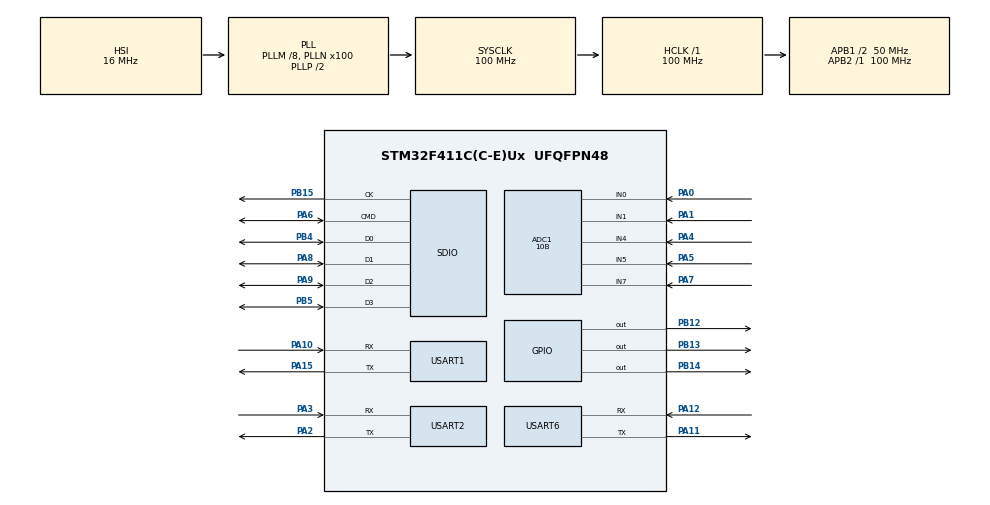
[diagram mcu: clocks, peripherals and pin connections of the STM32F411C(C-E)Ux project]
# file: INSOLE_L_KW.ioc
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ADC1.Channel-10\#ChannelRegularConversion=ADC_CHANNEL_1
ADC1.Channel-12\#ChannelRegularConversion=ADC_CHANNEL_4
ADC1.Channel-13\#ChannelRegularConversion=ADC_CHANNEL_5
ADC1.Channel-14\#ChannelRegularConversion=ADC_CHANNEL_7
ADC1.Channel-5\#ChannelRegularConversion=ADC_CHANNEL_0
ADC1.ContinuousConvMode=ENABLE
ADC1.DMAContinuousRequests=ENABLE
ADC1.InjNumberOfConversion=0
ADC1.NbrOfConversion=5
ADC1.NbrOfConversionFlag=1
ADC1.Rank-10\#ChannelRegularConversion=2
ADC1.Rank-12\#ChannelRegularConversion=3
ADC1.Rank-13\#ChannelRegularConversion=4
ADC1.Rank-14\#ChannelRegularConversion=5
ADC1.Rank-5\#ChannelRegularConversion=1
ADC1.Resolution=ADC_RESOLUTION_10B
ADC1.SamplingTime-10\#ChannelRegularConversion=ADC_SAMPLETIME_112CYCLES
ADC1.SamplingTime-12\#ChannelRegularConversion=ADC_SAMPLETIME_112CYCLES
ADC1.SamplingTime-13\#ChannelRegularConversion=ADC_SAMPLETIME_112CYCLES
ADC1.SamplingTime-14\#ChannelRegularConversion=ADC_SAMPLETIME_112CYCLES
ADC1.SamplingTime-5\#ChannelRegularConversion=ADC_SAMPLETIME_112CYCLES
ADC1.master=1
Dma.ADC1.0.Direction=DMA_PERIPH_TO_MEMORY
Dma.ADC1.0.FIFOMode=DMA_FIFOMODE_DISABLE
Dma.ADC1.0.Instance=DMA2_Stream0
Dma.ADC1.0.MemDataAlignment=DMA_MDATAALIGN_HALFWORD
Dma.ADC1.0.MemInc=DMA_MINC_ENABLE
Dma.ADC1.0.Mode=DMA_CIRCULAR
Dma.ADC1.0.PeriphDataAlignment=DMA_PDATAALIGN_HALFWORD
Dma.ADC1.0.PeriphInc=DMA_PINC_DISABLE
Dma.ADC1.0.Priority=DMA_PRIORITY_LOW
Dma.Request0=ADC1
Dma.Request1=SDIO_RX
Dma.Request2=SDIO_TX
Dma.SDIO_RX.1.Direction=DMA_PERIPH_TO_MEMORY
Dma.SDIO_RX.1.FIFOMode=DMA_FIFOMODE_ENABLE
Dma.SDIO_RX.1.FIFOThreshold=DMA_FIFO_THRESHOLD_FULL
Dma.SDIO_RX.1.Instance=DMA2_Stream3
Dma.SDIO_RX.1.MemBurst=DMA_MBURST_INC4
Dma.SDIO_RX.1.MemDataAlignment=DMA_MDATAALIGN_WORD
Dma.SDIO_RX.1.MemInc=DMA_MINC_ENABLE
Dma.SDIO_RX.1.Mode=DMA_PFCTRL
Dma.SDIO_RX.1.PeriphBurst=DMA_PBURST_INC4
Dma.SDIO_RX.1.PeriphDataAlignment=DMA_PDATAALIGN_WORD
Dma.SDIO_RX.1.PeriphInc=DMA_PINC_DISABLE
Dma.SDIO_RX.1.Priority=DMA_PRIORITY_LOW
Dma.SDIO_TX.2.Direction=DMA_MEMORY_TO_PERIPH
Dma.SDIO_TX.2.FIFOMode=DMA_FIFOMODE_ENABLE
Dma.SDIO_TX.2.FIFOThreshold=DMA_FIFO_THRESHOLD_FULL
Dma.SDIO_TX.2.Instance=DMA2_Stream6
Dma.SDIO_TX.2.MemBurst=DMA_MBURST_INC4
Dma.SDIO_TX.2.MemDataAlignment=DMA_MDATAALIGN_WORD
Dma.SDIO_TX.2.MemInc=DMA_MINC_ENABLE
Dma.SDIO_TX.2.Mode=DMA_PFCTRL
Dma.SDIO_TX.2.PeriphBurst=DMA_PBURST_INC4
Dma.SDIO_TX.2.PeriphDataAlignment=DMA_PDATAALIGN_WORD
Dma.SDIO_TX.2.PeriphInc=DMA_PINC_DISABLE
Dma.SDIO_TX.2.Priority=DMA_PRIORITY_LOW
FATFS._MAX_SS=4096
FREERTOS.Tasks01=defaultTask,0,128,StartDefaultTask,Default,NULL
FREERTOS.configTICK_RATE_HZ=1000
Mcu.Family=STM32F4
Mcu.Name=STM32F411C(C-E)Ux
Mcu.Package=UFQFPN48
NVIC.DMA2_Stream0_IRQn=true\:5\:0\:false\:false\:true\:true\:false\:true
NVIC.DMA2_Stream3_IRQn=true\:5\:0\:false\:false\:true\:true\:false\:true
NVIC.DMA2_Stream6_IRQn=true\:5\:0\:false\:false\:true\:true\:false\:true
NVIC.PriorityGroup=NVIC_PRIORITYGROUP_4
NVIC.SDIO_IRQn=true\:5\:0\:false\:false\:true\:true\:true\:true
NVIC.TIM4_IRQn=true\:5\:0\:false\:false\:true\:true\:true\:true
NVIC.TIM5_IRQn=true\:0\:0\:false\:false\:true\:false\:false\:true
NVIC.TimeBase=TIM5_IRQn
NVIC.TimeBaseIP=TIM5
NVIC.USART1_IRQn=true\:5\:0\:false\:false\:true\:true\:true\:true
PA0-WKUP.Signal=ADCx_IN0
PA1.Signal=ADCx_IN1
PA10.Mode=Asynchronous
PA10.Signal=USART1_RX
PA11.Mode=Asynchronous
PA11.Signal=USART6_TX
PA12.Mode=Asynchronous
PA12.Signal=USART6_RX
PA15.Mode=Asynchronous
PA15.Signal=USART1_TX
PA2.Mode=Asynchronous
PA2.Signal=USART2_TX
PA3.Mode=Asynchronous
PA3.Signal=USART2_RX
PA4.Signal=ADCx_IN4
PA5.Signal=ADCx_IN5
PA6.GPIO_PuPd=GPIO_PULLUP
PA6.Mode=SD_4_bits_Wide_bus
PA6.Signal=SDIO_CMD
PA7.Signal=ADCx_IN7
PA8.GPIO_PuPd=GPIO_PULLUP
PA8.Mode=SD_4_bits_Wide_bus
PA8.Signal=SDIO_D1
PA9.GPIO_PuPd=GPIO_PULLUP
PA9.Mode=SD_4_bits_Wide_bus
PA9.Signal=SDIO_D2
PB12.Signal=GPIO_Output
PB13.Signal=GPIO_Output
PB14.Signal=GPIO_Output
PB15.Mode=SD_4_bits_Wide_bus
PB15.Signal=SDIO_CK
PB4.GPIO_PuPd=GPIO_PULLUP
PB4.Mode=SD_4_bits_Wide_bus
PB4.Signal=SDIO_D0
PB5.GPIO_PuPd=GPIO_PULLUP
PB5.Mode=SD_4_bits_Wide_bus
PB5.Signal=SDIO_D3
ProjectManager.HeapSize=0x2000
ProjectManager.StackSize=0x4000
ProjectManager.TargetToolchain=MDK-ARM V5
RCC.48MHZClocksFreq_Value=40000000
RCC.AHBFreq_Value=100000000
RCC.APB1CLKDivider=RCC_HCLK_DIV2
RCC.APB1Freq_Value=50000000
RCC.APB1TimFreq_Value=100000000
RCC.APB2Freq_Value=100000000
RCC.APB2TimFreq_Value=100000000
RCC.CortexFreq_Value=100000000
RCC.HCLKFreq_Value=100000000
RCC.HSE_VALUE=8000000
RCC.HSI_VALUE=16000000
RCC.LSE_VALUE=32768
RCC.PLLM=8
RCC.PLLN=100
RCC.PLLQ=5
RCC.SYSCLKFreq_VALUE=100000000
RCC.SYSCLKSource=RCC_SYSCLKSOURCE_PLLCLK
RCC.VCOOutputFreq_Value=200000000
SDIO.ClockDiv=3
SH.ADCx_IN0.0=ADC1_IN0,IN0
SH.ADCx_IN1.0=ADC1_IN1,IN1
SH.ADCx_IN4.0=ADC1_IN4,IN4
SH.ADCx_IN5.0=ADC1_IN5,IN5
SH.ADCx_IN7.0=ADC1_IN7,IN7
TIM4.Period=10-1
TIM4.Prescaler=10000-1
TIM4.TIM_MasterOutputTrigger=TIM_TRGO_UPDATE
USART1.VirtualMode=VM_ASYNC
USART2.VirtualMode=VM_ASYNC
USART6.VirtualMode=VM_ASYNC
VP_CRC_VS_CRC.Mode=CRC_Activate
VP_FATFS_VS_SDIO.Mode=SDIO
VP_FREERTOS_VS_CMSIS_V1.Mode=CMSIS_V1
VP_SYS_VS_tim5.Mode=TIM5
VP_TIM4_VS_ClockSourceINT.Mode=Internal
board=custom

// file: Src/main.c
/* USER CODE BEGIN Header */

/*Definition in INSOLE_R_KR
DATASET :
INSOLE_L : 10BYTE(FSR) + 4BYTE(ST/ED) + 2BYTE(CRC) = 16BYTE
INSOLE_R : 20BYTE(FSR) + 4BYTE(ST/ED) + 2BYTE(CRC)= 26BYTE
IMU 		 : 2Byte(TMR) + 20BYTE(FSR) + 18BYTE(IMU) + 4BYTE(ST/ED) + 2BYTE(CRC) = 44BYTE

*/

/**
  ******************************************************************************
  * @file           : main.c
  * @brief          : Main program body
  ******************************************************************************
  * @attention
  *
  * <h2><center>&copy; Copyright (c) 2020 STMicroelectronics.
  * All rights reserved.</center></h2>
  *
  * This software component is licensed by ST under Ultimate Liberty license
  * SLA0044, the "License"; You may not use this file except in compliance with
  * the License. You may obtain a copy of the License at:
  *                             www.st.com/SLA0044
  *
  ******************************************************************************
  */
/* USER CODE END Header */

#include "main.h"
#include "cmsis_os.h"
#include "fatfs.h"

/* USER CODE BEGIN Includes */
#include <stdio.h>
#include <string.h>
#include <stdbool.h>
/* USER CODE END Includes */

ADC_HandleTypeDef hadc1;
DMA_HandleTypeDef hdma_adc1;

CRC_HandleTypeDef hcrc;

SD_HandleTypeDef hsd;
DMA_HandleTypeDef hdma_sdio_rx;
DMA_HandleTypeDef hdma_sdio_tx;

TIM_HandleTypeDef htim4;

UART_HandleTypeDef huart1;
UART_HandleTypeDef huart2;
UART_HandleTypeDef huart6;

osThreadId defaultTaskHandle;

void SystemClock_Config(void);
static void MX_GPIO_Init(void);
static void MX_DMA_Init(void);
static void MX_ADC1_Init(void);
static void MX_USART1_UART_Init(void);
static void MX_USART2_UART_Init(void);
static void MX_SDIO_SD_Init(void);
static void MX_TIM4_Init(void);
static void MX_USART6_UART_Init(void);
static void MX_CRC_Init(void);
void StartDefaultTask(void const * argument);

/* USER CODE BEGIN 0 */
	//Communication buffers
	uint8_t txdata[16]; // 4 from FFFF,FFFE 18 from Imu, 10 byte from insole 2byte crc : 34 byte

	// pc recieve buffer

	uint8_t Rxbuf[10] = {0,};

	//arduino recieve buffer

	uint8_t Rxbuf_ino[10] = {0,};
	//ADC dma convert
	uint16_t adcValArray[5] = {0,};

	//crcval
	uint32_t crcArray_send[10] = {0,};
	uint16_t crcval = 0;

	//SD card variables
	extern char SDPath[4];   /* SD logical drive path */
	extern FATFS SDFatFS;    /* File system object for SD logical drive */
	extern FIL SDFile;       /* File object for SD */

	//FILE I/O operation
	FRESULT res;                                          /* FatFs function common result code */
	uint32_t byteswritten, bytesread;                     /* File write/read counts */
	uint8_t wtext[] = "Hello"; 			      /* File write start buffer */
	uint8_t rtext[100];                                   /* File read buffer */

	FATFS myFATAS;
	FIL myFILE;
	UINT testByte; 										  // error detection

	//timer
	uint16_t tmr_ms=0;
	uint16_t tmr_1000ms=0;

	uint16_t svtmr_ms=0;

	bool _1000ms_flg = false;
	bool datasave_flg = false;
	//test
	uint8_t k = 0;
	bool datatrans_flg = false;
	bool datatest_flg = false;

/* USER CODE END 0 */

int main(void)
{

  /* MCU Configuration--------------------------------------------------------*/

  /* Reset of all peripherals, Initializes the Flash interface and the Systick. */
  HAL_Init();

  /* Configure the system clock */
  SystemClock_Config();

  /* Initialize all configured peripherals */
  MX_GPIO_Init();
  MX_DMA_Init();
  MX_ADC1_Init();
  MX_USART1_UART_Init();
  MX_USART2_UART_Init();
  MX_SDIO_SD_Init();
  MX_TIM4_Init();
  MX_USART6_UART_Init();
  MX_CRC_Init();
  /* USER CODE BEGIN 2 */
  HAL_ADC_Start_DMA(&hadc1,(uint32_t *)adcValArray, 5);
  HAL_TIM_Base_Start_IT(&htim4);
  HAL_UART_Receive_IT(&huart6, (uint8_t *)Rxbuf_ino, 10); //interrupt mode only in the mcu data

  /* USER CODE END 2 */

  /* Create the thread(s) */
  /* definition and creation of defaultTask */
  osThreadDef(defaultTask, StartDefaultTask, osPriorityNormal, 0, 128);
  defaultTaskHandle = osThreadCreate(osThread(defaultTask), NULL);

  /* Start scheduler */
  osKernelStart();

  /* We should never get here as control is now taken by the scheduler */

  /* Infinite loop */
  while (1)
  {

  }
}

void SystemClock_Config(void)
{
  RCC_OscInitTypeDef RCC_OscInitStruct = {0};
  RCC_ClkInitTypeDef RCC_ClkInitStruct = {0};

  /** Configure the main internal regulator output voltage
  */
  __HAL_RCC_PWR_CLK_ENABLE();
  __HAL_PWR_VOLTAGESCALING_CONFIG(PWR_REGULATOR_VOLTAGE_SCALE1);
  /** Initializes the CPU, AHB and APB busses clocks
  */
  RCC_OscInitStruct.OscillatorType = RCC_OSCILLATORTYPE_HSI;
  RCC_OscInitStruct.HSIState = RCC_HSI_ON;
  RCC_OscInitStruct.HSICalibrationValue = RCC_HSICALIBRATION_DEFAULT;
  RCC_OscInitStruct.PLL.PLLState = RCC_PLL_ON;
  RCC_OscInitStruct.PLL.PLLSource = RCC_PLLSOURCE_HSI;
  RCC_OscInitStruct.PLL.PLLM = 8;
  RCC_OscInitStruct.PLL.PLLN = 100;
  RCC_OscInitStruct.PLL.PLLP = RCC_PLLP_DIV2;
  RCC_OscInitStruct.PLL.PLLQ = 5;
  if (HAL_RCC_OscConfig(&RCC_OscInitStruct) != HAL_OK)
  {
    Error_Handler();
  }
  /** Initializes the CPU, AHB and APB busses clocks
  */
  RCC_ClkInitStruct.ClockType = RCC_CLOCKTYPE_HCLK|RCC_CLOCKTYPE_SYSCLK
                              |RCC_CLOCKTYPE_PCLK1|RCC_CLOCKTYPE_PCLK2;
  RCC_ClkInitStruct.SYSCLKSource = RCC_SYSCLKSOURCE_PLLCLK;
  RCC_ClkInitStruct.AHBCLKDivider = RCC_SYSCLK_DIV1;
  RCC_ClkInitStruct.APB1CLKDivider = RCC_HCLK_DIV2;
  RCC_ClkInitStruct.APB2CLKDivider = RCC_HCLK_DIV1;

  if (HAL_RCC_ClockConfig(&RCC_ClkInitStruct, FLASH_LATENCY_3) != HAL_OK)
  {
    Error_Handler();
  }
}

static void MX_ADC1_Init(void)
{

  ADC_ChannelConfTypeDef sConfig = {0};

  /** Configure the global features of the ADC (Clock, Resolution, Data Alignment and number of conversion)
  */
  hadc1.Instance = ADC1;
  hadc1.Init.ClockPrescaler = ADC_CLOCK_SYNC_PCLK_DIV4;
  hadc1.Init.Resolution = ADC_RESOLUTION_10B;
  hadc1.Init.ScanConvMode = ENABLE;
  hadc1.Init.ContinuousConvMode = ENABLE;
  hadc1.Init.DiscontinuousConvMode = DISABLE;
  hadc1.Init.ExternalTrigConvEdge = ADC_EXTERNALTRIGCONVEDGE_NONE;
  hadc1.Init.ExternalTrigConv = ADC_SOFTWARE_START;
  hadc1.Init.DataAlign = ADC_DATAALIGN_RIGHT;
  hadc1.Init.NbrOfConversion = 5;
  hadc1.Init.DMAContinuousRequests = ENABLE;
  hadc1.Init.EOCSelection = ADC_EOC_SINGLE_CONV;
  if (HAL_ADC_Init(&hadc1) != HAL_OK)
  {
    Error_Handler();
  }
  /** Configure for the selected ADC regular channel its corresponding rank in the sequencer and its sample time.
  */
  sConfig.Channel = ADC_CHANNEL_0;
  sConfig.Rank = 1;
  sConfig.SamplingTime = ADC_SAMPLETIME_112CYCLES;
  if (HAL_ADC_ConfigChannel(&hadc1, &sConfig) != HAL_OK)
  {
    Error_Handler();
  }
  /** Configure for the selected ADC regular channel its corresponding rank in the sequencer and its sample time.
  */
  sConfig.Channel = ADC_CHANNEL_1;
  sConfig.Rank = 2;
  if (HAL_ADC_ConfigChannel(&hadc1, &sConfig) != HAL_OK)
  {
    Error_Handler();
  }
  /** Configure for the selected ADC regular channel its corresponding rank in the sequencer and its sample time.
  */
  sConfig.Channel = ADC_CHANNEL_4;
  sConfig.Rank = 3;
  if (HAL_ADC_ConfigChannel(&hadc1, &sConfig) != HAL_OK)
  {
    Error_Handler();
  }
  /** Configure for the selected ADC regular channel its corresponding rank in the sequencer and its sample time.
  */
  sConfig.Channel = ADC_CHANNEL_5;
  sConfig.Rank = 4;
  if (HAL_ADC_ConfigChannel(&hadc1, &sConfig) != HAL_OK)
  {
    Error_Handler();
  }
  /** Configure for the selected ADC regular channel its corresponding rank in the sequencer and its sample time.
  */
  sConfig.Channel = ADC_CHANNEL_7;
  sConfig.Rank = 5;
  if (HAL_ADC_ConfigChannel(&hadc1, &sConfig) != HAL_OK)
  {
    Error_Handler();
  }
}

static void MX_CRC_Init(void)
{

  hcrc.Instance = CRC;
  if (HAL_CRC_Init(&hcrc) != HAL_OK)
  {
    Error_Handler();
  }

}

static void MX_SDIO_SD_Init(void)
{

  hsd.Instance = SDIO;
  hsd.Init.ClockEdge = SDIO_CLOCK_EDGE_RISING;
  hsd.Init.ClockBypass = SDIO_CLOCK_BYPASS_DISABLE;
  hsd.Init.ClockPowerSave = SDIO_CLOCK_POWER_SAVE_DISABLE;
  hsd.Init.BusWide = SDIO_BUS_WIDE_1B;
  hsd.Init.HardwareFlowControl = SDIO_HARDWARE_FLOW_CONTROL_DISABLE;
  hsd.Init.ClockDiv = 3;

}

static void MX_TIM4_Init(void)
{

  TIM_ClockConfigTypeDef sClockSourceConfig = {0};
  TIM_MasterConfigTypeDef sMasterConfig = {0};

  htim4.Instance = TIM4;
  htim4.Init.Prescaler = 10000-1;
  htim4.Init.CounterMode = TIM_COUNTERMODE_UP;
  htim4.Init.Period = 10-1;
  htim4.Init.ClockDivision = TIM_CLOCKDIVISION_DIV1;
  htim4.Init.AutoReloadPreload = TIM_AUTORELOAD_PRELOAD_DISABLE;
  if (HAL_TIM_Base_Init(&htim4) != HAL_OK)
  {
    Error_Handler();
  }
  sClockSourceConfig.ClockSource = TIM_CLOCKSOURCE_INTERNAL;
  if (HAL_TIM_ConfigClockSource(&htim4, &sClockSourceConfig) != HAL_OK)
  {
    Error_Handler();
  }
  sMasterConfig.MasterOutputTrigger = TIM_TRGO_UPDATE;
  sMasterConfig.MasterSlaveMode = TIM_MASTERSLAVEMODE_DISABLE;
  if (HAL_TIMEx_MasterConfigSynchronization(&htim4, &sMasterConfig) != HAL_OK)
  {
    Error_Handler();
  }

}

static void MX_USART1_UART_Init(void)
{

  huart1.Instance = USART1;
  huart1.Init.BaudRate = 115200;
  huart1.Init.WordLength = UART_WORDLENGTH_8B;
  huart1.Init.StopBits = UART_STOPBITS_1;
  huart1.Init.Parity = UART_PARITY_NONE;
  huart1.Init.Mode = UART_MODE_TX_RX;
  huart1.Init.HwFlowCtl = UART_HWCONTROL_NONE;
  huart1.Init.OverSampling = UART_OVERSAMPLING_16;
  if (HAL_UART_Init(&huart1) != HAL_OK)
  {
    Error_Handler();
  }

}

static void MX_USART2_UART_Init(void)
{

  huart2.Instance = USART2;
  huart2.Init.BaudRate = 115200;
  huart2.Init.WordLength = UART_WORDLENGTH_8B;
  huart2.Init.StopBits = UART_STOPBITS_1;
  huart2.Init.Parity = UART_PARITY_NONE;
  huart2.Init.Mode = UART_MODE_TX_RX;
  huart2.Init.HwFlowCtl = UART_HWCONTROL_NONE;
  huart2.Init.OverSampling = UART_OVERSAMPLING_16;
  if (HAL_UART_Init(&huart2) != HAL_OK)
  {
    Error_Handler();
  }

}

static void MX_USART6_UART_Init(void)
{

  huart6.Instance = USART6;
  huart6.Init.BaudRate = 115200;
  huart6.Init.WordLength = UART_WORDLENGTH_8B;
  huart6.Init.StopBits = UART_STOPBITS_1;
  huart6.Init.Parity = UART_PARITY_NONE;
  huart6.Init.Mode = UART_MODE_TX_RX;
  huart6.Init.HwFlowCtl = UART_HWCONTROL_NONE;
  huart6.Init.OverSampling = UART_OVERSAMPLING_16;
  if (HAL_UART_Init(&huart6) != HAL_OK)
  {
    Error_Handler();
  }

}

static void MX_DMA_Init(void)
{

  /* DMA controller clock enable */
  __HAL_RCC_DMA2_CLK_ENABLE();

  /* DMA interrupt init */
  /* DMA2_Stream0_IRQn interrupt configuration */
  HAL_NVIC_SetPriority(DMA2_Stream0_IRQn, 5, 0);
  HAL_NVIC_EnableIRQ(DMA2_Stream0_IRQn);
  /* DMA2_Stream3_IRQn interrupt configuration */
  HAL_NVIC_SetPriority(DMA2_Stream3_IRQn, 5, 0);
  HAL_NVIC_EnableIRQ(DMA2_Stream3_IRQn);
  /* DMA2_Stream6_IRQn interrupt configuration */
  HAL_NVIC_SetPriority(DMA2_Stream6_IRQn, 5, 0);
  HAL_NVIC_EnableIRQ(DMA2_Stream6_IRQn);

}

static void MX_GPIO_Init(void)
{
  GPIO_InitTypeDef GPIO_InitStruct = {0};

  /* GPIO Ports Clock Enable */
  __HAL_RCC_GPIOA_CLK_ENABLE();
  __HAL_RCC_GPIOB_CLK_ENABLE();

  /*Configure GPIO pin Output Level */
  HAL_GPIO_WritePin(GPIOB, GPIO_PIN_12|GPIO_PIN_13|GPIO_PIN_14, GPIO_PIN_RESET);

  /*Configure GPIO pins : PB12 PB13 PB14 */
  GPIO_InitStruct.Pin = GPIO_PIN_12|GPIO_PIN_13|GPIO_PIN_14;
  GPIO_InitStruct.Mode = GPIO_MODE_OUTPUT_PP;
  GPIO_InitStruct.Pull = GPIO_NOPULL;
  GPIO_InitStruct.Speed = GPIO_SPEED_FREQ_LOW;
  HAL_GPIO_Init(GPIOB, &GPIO_InitStruct);

}

/* USER CODE BEGIN 4 */
 void HAL_UART_RxCpltCallback(UART_HandleTypeDef *huart)
{
  /* Prevent unused argument(s) compilation warning */
  /* NOTE: This function should not be modified, when the callback is needed,
           the HAL_UART_RxCpltCallback could be implemented in the user file
   */
	//add ring buffer
	// data pacing and save buff to transmit array
	if(huart->Instance == USART1){
			//received search : start - start ?
			// senddata to
			uint8_t txdata[30] = {0,};
			//data parse and use
			// data save, data unsave mode
	}

	if(huart->Instance == USART6){
			//received search : start - start ?
			// senddata to
			//data parse and use
			// data save, data unsave mode
		HAL_UART_Receive_IT(&huart6, (uint8_t *)Rxbuf_ino, 10); //interrupt mode only in the mcu data
	}

}
 void HAL_UART_TxCpltCallback(UART_HandleTypeDef *huart)
{
  /* Prevent unused argument(s) compilation warning */
  /* NOTE: This function should not be modified, when the callback is needed,
           the HAL_UART_RxCpltCallback could be implemented in the user file
   */
	//add ring buffer
	// data pacing and save buff to transmit array
	if(huart->Instance == USART1){
		datatrans_flg	= true;
	}
}
/* USER CODE END 4 */

void StartDefaultTask(void const * argument)
{
  /* init code for FATFS */
  //MX_FATFS_Init();
  /* USER CODE BEGIN 5 */
//	f_mount(&SDFatFS, (TCHAR const*)SDPath, 1);

//	if(f_open(&SDFile, "test.txt", FA_CREATE_ALWAYS | FA_WRITE )== FR_OK){
//		HAL_GPIO_TogglePin(GPIOB,GPIO_PIN_14);
//		osDelay(500);
//		HAL_GPIO_TogglePin(GPIOB,GPIO_PIN_14);
//		osDelay(500);
//		HAL_GPIO_TogglePin(GPIOB,GPIO_PIN_14);
//		osDelay(500);
//		HAL_GPIO_TogglePin(GPIOB,GPIO_PIN_14);
//	}
//	else{
//		HAL_GPIO_TogglePin(GPIOB,GPIO_PIN_14);
//		osDelay(2000);
//		HAL_GPIO_TogglePin(GPIOB,GPIO_PIN_14);
//		osDelay(2000);
//		HAL_GPIO_TogglePin(GPIOB,GPIO_PIN_14);
//		osDelay(2000);
//		HAL_GPIO_TogglePin(GPIOB,GPIO_PIN_14);
//		}
//

  /* Infinite loop */
  for(;;)
  {
	if(_1000ms_flg) // 5ms data send
		{
		_1000ms_flg = false;
		txdata[0] = 0xFF;
		txdata[1] = 0xFF;

		for(int i =0; i<5; i++){
		char a = i*2;
		txdata[2+a] = adcValArray[i] >> 8;  //hi
		txdata[3+a] = adcValArray[i] & 0xFF;//lo
		}
		memset(crcArray_send,0,10*sizeof(crcArray_send[0]));
		memcpy(&crcArray_send[0],&txdata[2] , 10);
		crcval = HAL_CRC_Calculate(&hcrc,crcArray_send,3)& 0xffff;

		txdata[12] = crcval >> 8;
		txdata[13] = crcval & 0xff;
		txdata[14] = 0xFF;
		txdata[15] = 0xFE;

	//TRANSMIT DATA TO PC
		//	DATA SAVE TO LEFT LEG
//			if(datasave_flg){
//			for(int i =0; i<16; i++) {
//			f_printf(&SDFile, "%02x", txdata[i]);
//			}
//			f_printf(&SDFile, "\n");
//			}
//			else
//			{
//			f_close(&SDFile);
//			}
//
			HAL_UART_Transmit_IT(&huart1,txdata,16);  // 4byte + 18 + 10 byte(insole right)+ CRC 2  + tmr 2: 46 byte

			if(datatest_flg) // 1sec flash out
			{
				datatest_flg = false;
				HAL_GPIO_TogglePin(GPIOB,GPIO_PIN_13);
			}
		}

  }
  /* USER CODE END 5 */
}

void HAL_TIM_PeriodElapsedCallback(TIM_HandleTypeDef *htim)
{
  if (htim->Instance == TIM5) {
    HAL_IncTick();
  }
  /* USER CODE BEGIN Callback 1 */

	if (htim->Instance == TIM4) {
		tmr_ms ++;
		tmr_1000ms ++;
		svtmr_ms ++;
		if(tmr_ms%5 == 0)
		{
			k++;
			_1000ms_flg = true;
			tmr_ms = 0;
		}
		if(tmr_1000ms%1000 == 0)
		{
			datatest_flg = true;
			tmr_1000ms = 0;
		}
		if(svtmr_ms%10000 == 0)
		{
			datasave_flg = true;
			svtmr_ms = 0;
		}

  }

  /* USER CODE END Callback 1 */
}

void Error_Handler(void)
{
}

/************************ (C) COPYRIGHT STMicroelectronics *****END OF FILE****/
